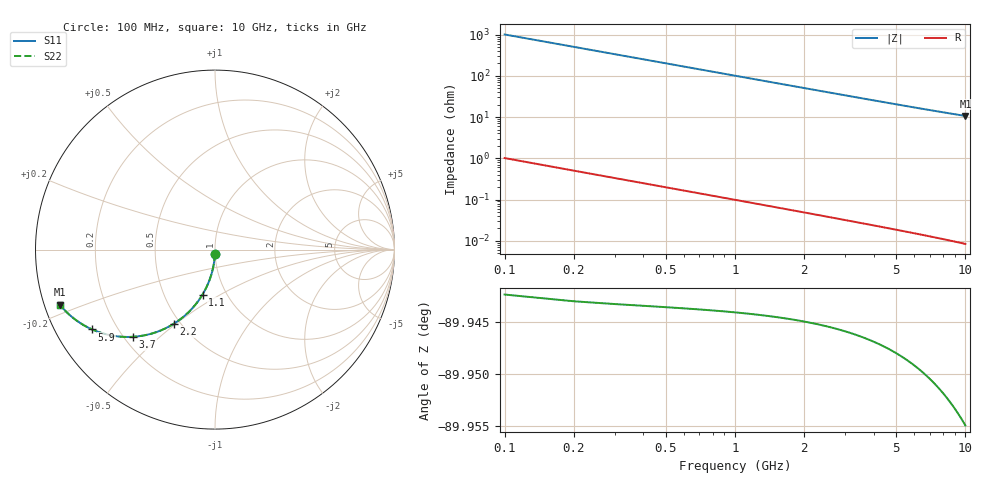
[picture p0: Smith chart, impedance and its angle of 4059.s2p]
# Hz S RI R 50.00
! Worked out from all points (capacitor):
!   100 points, 100 MHz to 10 GHz, reference 50 ohm
!   read as one part in shunt: C = 1.58 pF near 100 MHz
!   lowest |Z| = 10.7 ohm at 10 GHz (marker M1)
!   S11 on the Smith chart (normalised r, x): 100 MHz: 1.00, -0.05; 1.1 GHz: 0.77, -0.41; 2.2 GHz: 0.46, -0.49; 3.7 GHz: 0.23, -0.41; 5.9 GHz: 0.11, -0.29; 10 GHz: 0.04, -0.17
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1e8  -0.000564 -0.0244  0.9993 -0.0251  0.9993 -0.0251  -0.000564 -0.0244
2e8  -0.00242 -0.0488  0.9974 -0.0501  0.9974 -0.0501  -0.00242 -0.0488
3e8  -0.00549 -0.073  0.9944 -0.0749  0.9944 -0.0749  -0.00549 -0.073
4e8  -0.00975 -0.0969  0.9901 -0.0994  0.9901 -0.0994  -0.00975 -0.0969
5e8  -0.0152 -0.1204  0.9847 -0.1236  0.9847 -0.1236  -0.0152 -0.1204
6e8  -0.0217 -0.1435  0.9782 -0.1473  0.9782 -0.1473  -0.0217 -0.1435
7e8  -0.0293 -0.1661  0.9705 -0.1706  0.9705 -0.1706  -0.0293 -0.1661
9e8  -0.0475 -0.2095  0.9523 -0.2153  0.9523 -0.2153  -0.0475 -0.2095
1.1e9  -0.0693 -0.2502  0.9305 -0.2572  0.9305 -0.2572  -0.0693 -0.2502
1.4e9  -0.1077 -0.3051  0.8921 -0.314  0.8921 -0.314  -0.1077 -0.3051
1.8e9  -0.1663 -0.3662  0.8335 -0.3777  0.8335 -0.3777  -0.1663 -0.3662
2.2e9  -0.2296 -0.4132  0.7701 -0.4272  0.7701 -0.4272  -0.2296 -0.4132
2.8e9  -0.3258 -0.4593  0.6739 -0.4772  0.6739 -0.4772  -0.3258 -0.4593
3.4e9  -0.4164 -0.4816  0.5832 -0.5034  0.5832 -0.5034  -0.4164 -0.4816
3.7e9  -0.4582 -0.4859  0.5414 -0.5096  0.5414 -0.5096  -0.4582 -0.4859
4.4e9  -0.5451 -0.4833  0.4543 -0.5116  0.4543 -0.5116  -0.5451 -0.4833
5.1e9  -0.6175 -0.4689  0.3818 -0.5019  0.3818 -0.5019  -0.6175 -0.4689
5.9e9  -0.6843 -0.4449  0.3148 -0.4833  0.3148 -0.4833  -0.6843 -0.4449
6.7e9  -0.7373 -0.4174  0.2616 -0.4612  0.2616 -0.4612  -0.7373 -0.4174
7.5e9  -0.7794 -0.389  0.2192 -0.4383  0.2192 -0.4383  -0.7794 -0.389
8.4e9  -0.8167 -0.3579  0.1816 -0.4135  0.1816 -0.4135  -0.8167 -0.3579
1e10  -0.8645 -0.3069  0.1331 -0.3739  0.1331 -0.3739  -0.8645 -0.3069
